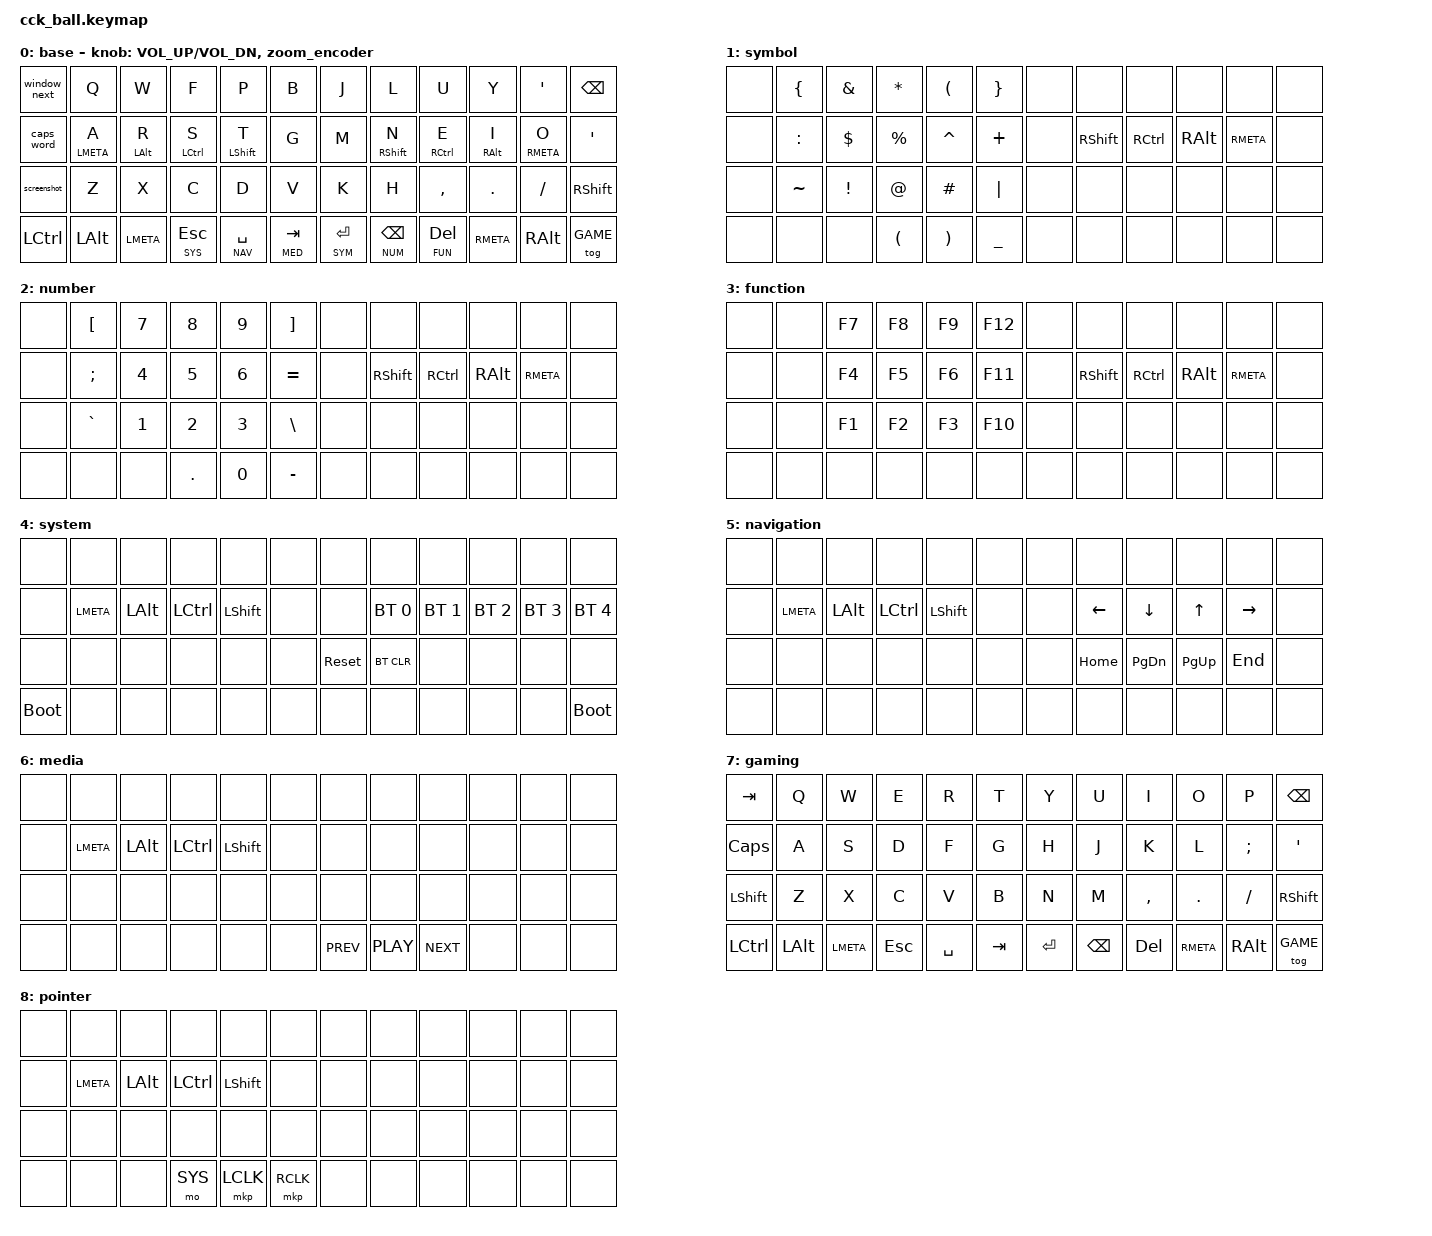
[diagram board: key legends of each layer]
#define ZMK_POINTING_DEFAULT_MOVE_VAL 1000 // 600
#define ZMK_POINTING_DEFAULT_SCRL_VAL 12   // 10

#include <input/processors.dtsi>
#include <zephyr/dt-bindings/input/input-event-codes.h>
#include <behaviors.dtsi>
#include <dt-bindings/zmk/bt.h>
#include <dt-bindings/zmk/keys.h>
#include <dt-bindings/zmk/pointing.h>

&mmv_input_listener { input-processors = <&zip_xy_scaler 2 1>; };

&msc_input_listener { input-processors = <&zip_scroll_scaler 2 1>; };

&msc {
    acceleration-exponent = <0>;      // 0
    time-to-max-speed-ms = <300>;       // 300
    delay-ms = <0>;                   // 0
};

&mmv {
    time-to-max-speed-ms = <300>;
    acceleration-exponent = <2>;
};

&soft_off { hold-time-ms = <2000>; };

&mt {
	tapping-term-ms = <150>;
    flavor = "balanced";
};
&lt {
    flavor = "balanced";
};

#define LEFT_HAND_KEYS   0  1  2  3  4  5  \
                         12 13 14 15 16 17 \
                         24 25 26 27 28 29 \
                         36 37 38
#define LEFT_THUMB_KEYS           39 40 41

#define RIGHT_HAND_KEYS  6  7  8  9  10 11 \
                         18 19 20 21 22 23 \
                         30 31 32 33 34 35 \
                                  45 46 47
#define RIGHT_THUMB_KEYS 42 43 44

#define BASE 0
#define SYM  1
#define NUM  2
#define FUN  3
#define SYS  4
#define NAV  5
#define MED  6
#define GAME 7
#define PTR  8

/ {
    zoom_encoder: zoom_encoder {
            compatible = "zmk,behavior-sensor-rotate";
            #sensor-binding-cells = <0>;
            bindings = <&kp LG(KP_PLUS)>, <&kp LG(KP_MINUS)>;

            tap-ms = <30>;
    };

    macros {
        screenshot: screenshot {
            compatible = "zmk,behavior-macro";
            #binding-cells = <0>;
            bindings
                = <&macro_press &kp LMETA &kp LSHFT>
                , <&macro_tap &kp N4>
                , <&macro_release &kp LMETA &kp LSHFT>
                ;
        };

		window_next: window_next {
			compatible = "zmk,behavior-macro";
            #binding-cells = <0>;
            bindings
                = <&macro_press &kp LMETA>
                , <&macro_tap &kp GRAVE>
                , <&macro_release &kp LMETA>
                ;
		};
    };

    behaviors {
        hml: home_row_mod_left {
            compatible = "zmk,behavior-hold-tap";
            #binding-cells = <2>;
            flavor = "balanced";
            require-prior-idle-ms = <150>;
            tapping-term-ms = <280>;
            quick-tap-ms = <175>;
            bindings = <&kp>, <&kp>;
            hold-trigger-key-positions = <RIGHT_HAND_KEYS RIGHT_THUMB_KEYS>;
            hold-trigger-on-release;
        };
        hmr: home_row_mod_right {
            compatible = "zmk,behavior-hold-tap";
            #binding-cells = <2>;
            flavor = "balanced";
            require-prior-idle-ms = <150>;
            tapping-term-ms = <280>;
            quick-tap-ms = <175>;
            bindings = <&kp>, <&kp>;
            hold-trigger-key-positions = <LEFT_HAND_KEYS LEFT_THUMB_KEYS>;
            hold-trigger-on-release;
        };
    };

    keymap {
        compatible = "zmk,keymap";

        base {
            bindings = <
&window_next &kp Q        &kp W       &kp F        &kp P         &kp B         &kp J       &kp L        &kp U        &kp Y       &kp SQT      &kp BSPC
&caps_word   &hml LMETA A &hml LALT R &hml LCTRL S &hml LSHFT T  &kp G         &kp M       &hmr RSHFT N &hmr RCTRL E &hmr RALT I &hmr RMETA O &kp SQT
&screenshot  &kp Z        &kp X       &kp C        &kp D         &kp V         &kp K       &kp H        &kp COMMA    &kp DOT     &kp SLASH    &kp RSHFT
&kp LCTRL    &kp LALT     &kp LMETA   &lt SYS ESC  &lt NAV SPACE &lt MED TAB   &lt SYM RET &lt NUM BSPC &lt FUN DEL  &kp RMETA   &kp RALT     &tog GAME
            >;

            sensor-bindings = <&inc_dec_kp C_VOL_UP C_VOL_DN>, <&zoom_encoder>;
        };

        symbol {
            bindings = <
&none      &kp LBRC    &kp AMPS   &kp ASTRK   &kp LPAR      &kp RBRC      &none       &none        &none       &none      &none       &none
&none      &kp COLON   &kp DLLR   &kp PRCNT   &kp CARET     &kp PLUS      &none       &kp RSHFT    &kp RCTRL   &kp RALT   &kp RMETA   &none
&none      &kp TILDE   &kp EXCL   &kp AT      &kp POUND     &kp PIPE      &none       &none        &none       &none      &none       &none
&none      &none       &none      &kp LPAR    &kp RPAR      &kp UNDER     &none       &none        &none       &none      &none       &none
            >;
        };

        number {
            bindings = <
&none      &kp LBKT    &kp N7     &kp N8      &kp N9        &kp RBKT      &none       &none        &none       &none      &none       &none
&none      &kp SEMI    &kp N4     &kp N5      &kp N6        &kp EQUAL     &none       &kp RSHFT    &kp RCTRL   &kp RALT   &kp RMETA   &none
&none      &kp GRAVE   &kp N1     &kp N2      &kp N3        &kp BSLH      &none       &none        &none       &none      &none       &none
&none      &none       &none      &kp DOT     &kp N0        &kp MINUS     &none       &none        &none       &none      &none       &none
            >;
        };

        function {
            bindings = <
&none      &none       &kp F7     &kp F8      &kp F9        &kp F12       &none       &none        &none       &none      &none       &none
&none      &none       &kp F4     &kp F5      &kp F6        &kp F11       &none       &kp RSHFT    &kp RCTRL   &kp RALT   &kp RMETA   &none
&none      &none       &kp F1     &kp F2      &kp F3        &kp F10       &none       &none        &none       &none      &none       &none
&none      &none       &none      &none       &none         &none         &none       &none        &none       &none      &none       &none
            >;
        };

        system {
            bindings = <
&none       &none       &none      &none       &none         &none         &none       &none        &none        &none        &none        &none
&none       &kp LMETA   &kp LALT   &kp LCTRL   &kp LSHFT     &none         &none       &bt BT_SEL 0 &bt BT_SEL 1 &bt BT_SEL 2 &bt BT_SEL 3 &bt BT_SEL 4
&none       &none       &none      &none       &none         &none         &sys_reset  &bt BT_CLR   &none        &none        &none        &none
&bootloader &none       &none      &none       &none         &none         &none       &none        &none        &none        &none        &bootloader
            >;
        };

        navigation {
            bindings = <
&none      &none       &none      &none       &none         &none         &none        &none        &none      &none      &none       &none
&none      &kp LMETA   &kp LALT   &kp LCTRL   &kp LSHFT     &none         &none        &kp LEFT     &kp DOWN   &kp UP     &kp RIGHT   &none
&none      &none       &none      &none       &none         &none         &none        &kp HOME     &kp PG_DN  &kp PG_UP  &kp END     &none
&none      &none       &none      &none       &none         &none         &none        &none        &none      &none      &none       &none
            >;
        };

        media {
            bindings = <
&none      &none       &none      &none       &none         &none         &none        &none        &none      &none      &none       &none
&none      &kp LMETA   &kp LALT   &kp LCTRL   &kp LSHFT     &none         &none        &none        &none      &none      &none       &none
&none      &none       &none      &none       &none         &none         &none        &none        &none      &none      &none       &none
&none      &none       &none      &none       &none         &none         &kp C_PREV   &kp C_PLAY   &kp C_NEXT &none      &none       &none
            >;
        };

        gaming {
            bindings = <
&kp TAB    &kp Q     &kp W      &kp E        &kp R          &kp T         &kp Y        &kp U        &kp I         &kp O        &kp P        &kp BSPC
&kp CAPS   &kp A     &kp S      &kp D        &kp F          &kp G         &kp H        &kp J        &kp K         &kp L        &kp SEMI     &kp SQT
&kp LSHFT  &kp Z     &kp X      &kp C        &kp V          &kp B         &kp N        &kp M        &kp COMMA     &kp DOT      &kp SLASH    &kp RSHFT
&kp LCTRL  &kp LALT  &kp LMETA  &kp ESC      &kp SPC        &kp TAB       &kp RET      &kp BSPC     &kp DEL       &kp RMETA    &kp RALT     &tog GAME
            >;
        };

        pointer {
            bindings = <
&none      &none       &none      &none        &none        &none         &none        &none        &none      &none      &none       &none
&none      &kp LMETA   &kp LALT   &kp LCTRL    &kp LSHFT    &none         &none        &none        &none      &none      &none       &none
&none      &none       &none      &none        &none        &none         &none        &none        &none      &none      &none       &none
&none      &none       &none      &mo SYS      &mkp LCLK    &mkp RCLK     &none        &none        &none      &none      &none       &none
            >;
        };
    };
};
